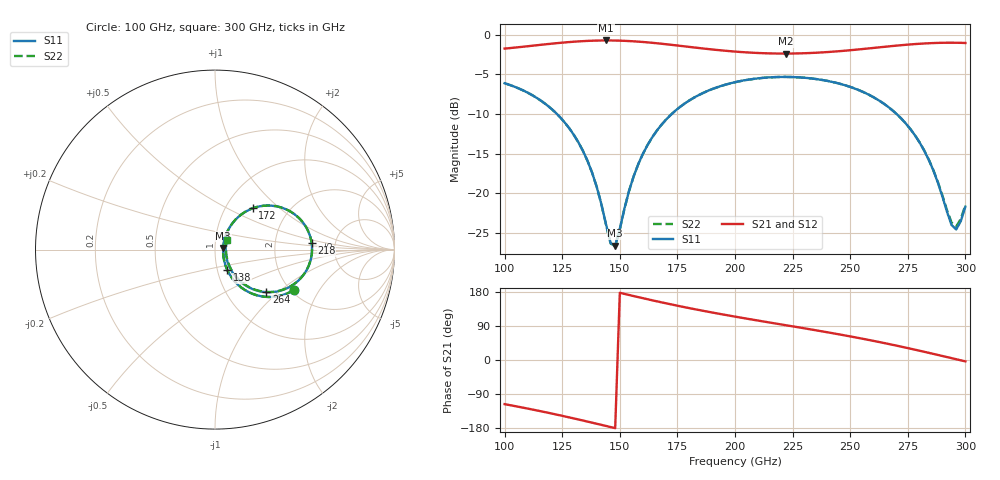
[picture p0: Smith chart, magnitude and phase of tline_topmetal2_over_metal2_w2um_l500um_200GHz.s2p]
#  GHZ S DB R 50
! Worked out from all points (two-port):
!   101 points, 100 GHz to 300 GHz, reference 50 ohm
!   highest |S21| = -0.74 dB at 144 GHz (marker M1); lowest = -2.4 dB at 222 GHz (marker M2)
!   |S21| within 3 dB of the highest: start of sweep to end of sweep
!   lowest |S11| = -26.6 dB at 148 GHz (marker M3), VSWR 1.10, Z = 54.8 + j0.967 ohm
!   |S11| at or under -10 dB: 122.6 GHz to 172.6 GHz (49.95 GHz wide, 33.8 % of centre); 270.1 GHz to end of sweep
!   |S22| runs from -26.7 to -5.3 dB; largest |S21 - S12| = 1.5e-13
!   S11 on the Smith chart (normalised r, x): 100 GHz: 2.07, -1.23; 138 GHz: 1.12, -0.26; 172 GHz: 1.33, +0.68; 218 GHz: 3.31, +0.32; 264 GHz: 1.52, -0.84; 300 GHz: 1.13, +0.12
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100  -6.14 -27.2  -1.77 -116.5  -1.77 -116.5  -6.14 -27.2
120  -9.28 -47.7  -1.16 -140.7  -1.16 -140.7  -9.28 -47.7
134  -14.67 -59.1  -0.82 -159.7  -0.82 -159.7  -14.67 -59.2
138  -17.43 -59.0  -0.77 -165.4  -0.77 -165.4  -17.44 -59.1
144  -23.92 -41.4  -0.74 -174.0  -0.74 -174.0  -23.96 -41.7
146  -26.29 -20.1  -0.74 -176.9  -0.74 -176.9  -26.35 -20.3
148  -26.61 10.9  -0.75 -179.8  -0.75 -179.8  -26.69 10.9
154  -19.73 53.2  -0.81 171.6  -0.81 171.6  -19.75 53.4
158  -16.35 56.6  -0.89 166.0  -0.89 166.0  -16.36 56.8
168  -11.40 51.3  -1.15 152.3  -1.15 152.3  -11.41 51.4
172  -10.16 47.7  -1.28 147.1  -1.28 147.1  -10.16 47.8
184  -7.67 35.9  -1.68 132.3  -1.68 132.3  -7.67 36.0
200  -6.01 20.3  -2.14 114.5  -2.14 114.5  -6.01 20.4
218  -5.36 3.7  -2.39 95.9  -2.39 95.9  -5.36 3.8
222  -5.34 0.0  -2.39 91.9  -2.39 91.9  -5.34 0.1
234  -5.56 -10.9  -2.30 79.6  -2.30 79.6  -5.56 -10.8
264  -8.60 -39.7  -1.57 45.7  -1.57 45.7  -8.59 -39.4
268  -9.47 -43.4  -1.45 40.6  -1.45 40.6  -9.47 -43.1
282  -14.57 -52.8  -1.12 21.9  -1.12 21.9  -14.54 -52.1
294  -24.02 -17.8  -1.03 4.9  -1.03 4.9  -23.72 -16.9
296  -24.58 4.5  -1.03 2.0  -1.03 2.0  -24.22 4.4
300  -21.71 39.1  -1.06 -3.7  -1.06 -3.7  -21.51 37.9
